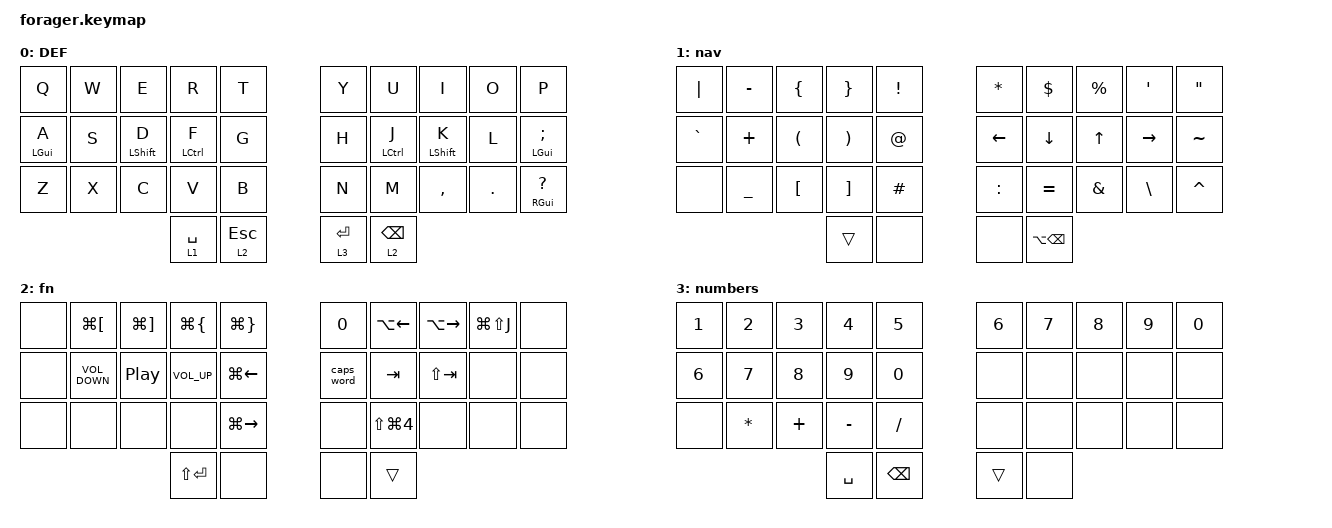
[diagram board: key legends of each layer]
#define ZMK_POINTING_DEFAULT_MOVE_VAL 1000  // default: 600
#define ZMK_POINTING_DEFAULT_SCRL_VAL 15    // default: 10

#include <behaviors.dtsi>
#include <dt-bindings/zmk/keys.h>

#define BASE 0
#define NAV  1
#define SYM  2
#define ADJ  3

/*
 * Copyright (c) 2020 The ZMK Contributors
 *
 * SPDX-License-Identifier: MIT
 */

&lt {
    quick-tap-ms = <200>;
    tapping-term-ms = <150>;
    flavor = "balanced";
};

&mt {
    quick-tap-ms = <220>;
    tapping-term-ms = <150>;
    flavor = "balanced";
};

/ {
    behaviors {
        thumb_ht: thumb_hold_tap {
            compatible = "zmk,behavior-hold-tap";
            label = "HOMEROW_MODS";
            #binding-cells = <2>;
            tapping-term-ms = <150>;
            flavor = "balanced";
            bindings = <&kp>, <&kp>;

            quick-tap-ms = <180>;
            hold-trigger-key-positions = <0 1 2 3 4 14 10 11 12 13 14 20 21 22 23 24 5 6 7 8 9 15 16 17 18 19 25 26 27 28 29>;
        };

        hml: left_homerow_mods {
            compatible = "zmk,behavior-hold-tap";
            #binding-cells = <2>;
            flavor = "balanced";
            tapping-term-ms = <240>;
            quick-tap-ms = <140>;
            require-prior-idle-ms = <100>;
            bindings = <&kp>, <&kp>;

            hold-trigger-key-positions = <5 6 7 8 9 15 16 17 18 19 25 26 27 28 29 30 31 32 33>;
            hold-trigger-on-release;
        };

        hmr: right_homerow_mods {
            compatible = "zmk,behavior-hold-tap";
            #binding-cells = <2>;
            flavor = "balanced";
            tapping-term-ms = <240>;
            quick-tap-ms = <150>;
            require-prior-idle-ms = <100>;
            bindings = <&kp>, <&kp>;

            hold-trigger-key-positions = <0 1 2 3 4 10 11 12 13 14 20 21 22 23 24 30 31 32 33>;
            hold-trigger-on-release;
        };

        as: auto_shift {
            compatible = "zmk,behavior-hold-tap";
            label = "AUTO_SHIFT";
            bindings = <&kp>, <&kp>;

            #binding-cells = <2>;
            flavor = "tap-preferred";
            tapping-term-ms = <250>;
            require-prior-idle-ms = <100>;
        };
    };

    macros {
        thin_arrow: thin_arrow {
            compatible = "zmk,behavior-macro";
            #binding-cells = <0>;
            bindings = <&kp MINUS &kp GT>;
            label = "THIN_ARROW";
        };

        thick_arrow: thick_arrow {
            compatible = "zmk,behavior-macro";
            #binding-cells = <0>;
            bindings = <&kp EQUAL &kp GREATER_THAN>;
            label = "THICK_ARROW";
        };

        rs_lambda_macro: rs_lambda_macro {
            compatible = "zmk,behavior-macro";
            #binding-cells = <0>;
            bindings = <&kp PIPE &kp PIPE &kp LEFT>;
            label = "RS_LAMBDA_MACRO";
        };

        tmux_new_tab: tmux_new_tab {
            compatible = "zmk,behavior-macro";
            #binding-cells = <0>;
            bindings = <&kp LC(A) &kp T>;
            label = "TMUX_NEW_TAB";
        };

        next_tmux: next_tmux {
            compatible = "zmk,behavior-macro";
            #binding-cells = <0>;
            bindings = <&kp LC(A) &kp N>;
            label = "NEXT_TMUX";
        };

        prev_tmux: prev_tmux {
            compatible = "zmk,behavior-macro";
            #binding-cells = <0>;
            bindings = <&kp LC(A) &kp H>;
            label = "PREV_TMUX";
        };
    };

    combos {
        compatible = "zmk,combos";

        def-jkl-hyper-space {
            bindings = <&kp LS(LA(LC(LG(SPACE))))>;
            key-positions = <16 17 18>;
            layers = <0>;
        };

        copy_shortcut {
            bindings = <&kp LG(C)>;
            key-positions = <21 22>;
            layers = <0>;
        };

        paste {
            bindings = <&kp LG(V)>;
            key-positions = <22 23>;
            layers = <0>;
        };

        shortcat {
            bindings = <&kp LS(LA(LG(S)))>;
            key-positions = <15 16>;
            layers = <0>;
        };

        search {
            bindings = <&kp SLASH>;
            key-positions = <6 7>;
            timeout-ms = <18>;
            require-prior-idle-ms = <150>;
            layers = <0>;
        };

        newtab {
            bindings = <&tmux_new_tab>;
            key-positions = <7 8>;
            timeout-ms = <18>;
            require-prior-idle-ms = <150>;
            layers = <0>;
        };

        prev_tmux {
            bindings = <&prev_tmux>;
            key-positions = <16 17>;
            layers = <0>;
        };

        next_tmux {
            bindings = <&next_tmux>;
            key-positions = <17 18>;
            layers = <0>;
        };
    };

    keymap {
        compatible = "zmk,keymap";

        default_layer {
            label = "DEF";
            bindings = <
  &kp Q            &kp W  &kp E              &kp R                &kp T           &kp Y        &kp U                &kp I              &kp O    &kp P
  &hml LEFT_GUI A  &kp S  &hml LEFT_SHIFT D  &hml LEFT_CONTROL F  &kp G           &kp H        &hmr LEFT_CONTROL J  &hmr LEFT_SHIFT K  &kp L    &hmr LEFT_GUI SEMICOLON
  &kp Z            &kp X  &kp C              &kp V                &kp B           &kp N        &kp M                &kp COMMA          &kp DOT  &mt RGUI QUESTION
                                             &lt 1 SPACE          &lt 2 ESCAPE    &lt 3 ENTER  &lt 2 BACKSPACE
            >;
        };

        nav {
            bindings = <
  &kp PIPE   &kp MINUS       &kp LEFT_BRACE        &kp RIGHT_BRACE        &kp EXCLAMATION    &kp ASTERISK  &kp DOLLAR         &kp PERCENT    &kp SQT        &kp DOUBLE_QUOTES
  &kp GRAVE  &kp PLUS        &kp LEFT_PARENTHESIS  &kp RIGHT_PARENTHESIS  &kp AT_SIGN        &kp LEFT      &kp DOWN           &kp UP         &kp RIGHT      &kp TILDE
  &none      &kp UNDERSCORE  &kp LEFT_BRACKET      &kp RIGHT_BRACKET      &kp HASH           &kp COLON     &kp EQUAL          &kp AMPERSAND  &kp BACKSLASH  &kp CARET
                                                   &trans                 &none              &none         &kp LA(BACKSPACE)
            >;
        };

        fn {
            bindings = <
  &none  &kp LG(LEFT_BRACKET)  &kp LG(RIGHT_BRACKET)  &kp LG(LEFT_BRACE)  &kp LG(RIGHT_BRACE)    &kp N0      &kp LA(LEFT)          &kp LA(RIGHT)  &kp LG(LS(J))  &none
  &none  &kp C_VOLUME_DOWN     &kp C_PLAY_PAUSE       &kp C_VOLUME_UP     &kp LG(LEFT)           &caps_word  &kp TAB               &kp LS(TAB)    &none          &none
  &none  &none                 &none                  &none               &kp LG(RIGHT)          &none       &kp LS(LG(NUMBER_4))  &none          &none          &none
                                                      &kp LS(ENTER)       &none                  &none       &trans
            >;
        };

        numbers {
            bindings = <
  &kp NUMBER_1  &kp NUMBER_2  &kp NUMBER_3  &kp NUMBER_4  &kp N5           &kp NUMBER_6  &kp N7  &kp N8  &kp N9  &kp N0
  &kp NUMBER_6  &kp N7        &kp N8        &kp N9        &kp N0           &none         &none   &none   &none   &none
  &none         &kp ASTERISK  &kp PLUS      &kp MINUS     &kp SLASH        &none         &none   &none   &none   &none
                                            &kp SPACE     &kp BACKSPACE    &trans        &none
            >;
        };
    };
};
